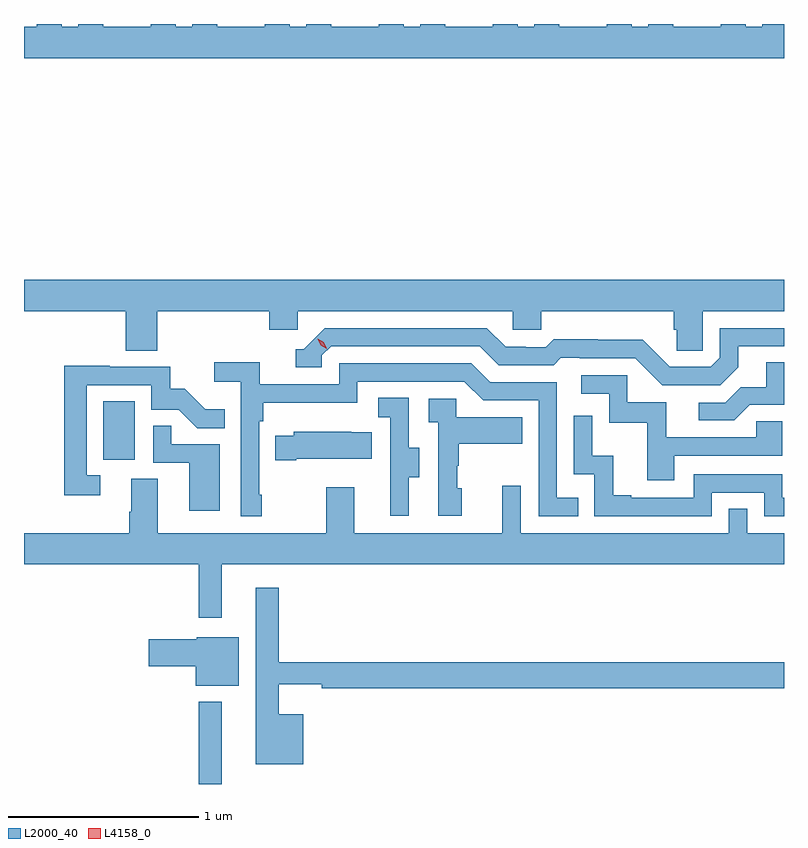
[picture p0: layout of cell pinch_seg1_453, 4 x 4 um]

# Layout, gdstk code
import gdstk
lib = gdstk.Library(unit=1e-6, precision=1e-09)
def R(c, l, rs):  # rectangles x0, y0, x1, y1
    for r in rs: c.add(gdstk.rectangle(r[:2], r[2:], *l))
def P(c, l, *ps):  # polygons
    for p in ps: c.add(gdstk.Polygon(p, *l))
L2000_40 = (2000, 40)
L4158_0 = (4158, 0)

pinch_seg1_453 = lib.new_cell('pinch_seg1_453')
R(pinch_seg1_453, L2000_40, [(995.214,506.619,995.335,507.052), (994.712,508.326,994.876,508.633)])
P(pinch_seg1_453, L2000_40, [(995.18,510.604),(995.092,510.604),(995.092,510.619),(994.961,510.619),(994.961,510.604),(994.711,510.604),(994.711,510.619),(994.58,510.619),(994.58,510.604),(994.492,510.604),(994.492,510.619),(994.361,510.619),(994.361,510.604),(994.294,510.604),(994.294,510.44),(998.294,510.44),(998.294,510.619),(998.18,510.619),(998.18,510.604),(998.092,510.604),(998.092,510.619),(997.961,510.619),(997.961,510.604),(997.711,510.604),(997.711,510.619),(997.58,510.619),(997.58,510.604),(997.492,510.604),(997.492,510.619),(997.361,510.619),(997.361,510.604),(997.111,510.604),(997.111,510.619),(996.98,510.619),(996.98,510.604),(996.892,510.604),(996.892,510.619),(996.761,510.619),(996.761,510.604),(996.511,510.604),(996.511,510.619),(996.38,510.619),(996.38,510.604),(996.292,510.604),(996.292,510.619),(996.161,510.619),(996.161,510.604),(995.911,510.604),(995.911,510.619),(995.78,510.619),(995.78,510.604),(995.692,510.604),(995.692,510.619),(995.561,510.619),(995.561,510.604),(995.311,510.604),(995.311,510.619),(995.18,510.619)],
  [(994.994,509.108),(995.585,509.108),(995.585,509.01),(995.736,509.01),(995.736,509.108),(996.867,509.108),(996.867,509.01),(997.017,509.01),(997.017,509.108),(997.715,509.108),(997.715,509.01),(997.729,509.01),(997.729,508.9),(997.866,508.9),(997.866,509.108),(998.294,509.108),(998.294,509.272),(994.294,509.272),(994.294,509.108),(994.829,509.108),(994.829,508.9),(994.994,508.9)],
  [(998.053,508.813),(998.053,508.923),(998.294,508.923),(998.294,509.019),(997.956,509.019),(997.956,508.863),(997.908,508.815),(997.692,508.815),(997.55,508.957),(997.314,508.957),(997.314,508.96),(997.081,508.96),(997.039,508.917),(996.936,508.917),(996.936,508.92),(996.829,508.92),(996.73,509.019),(995.877,509.019),(995.766,508.908),(995.723,508.908),(995.723,508.812),(995.862,508.812),(995.862,508.875),(995.91,508.923),(996.693,508.923),(996.792,508.824),(997.081,508.824),(997.12,508.863),(997.219,508.863),(997.219,508.86),(997.512,508.86),(997.653,508.719),(997.959,508.719)],
  [(995.545,508.141),(995.532,508.141),(995.532,508.529),(995.552,508.529),(995.552,508.625),(996.048,508.625),(996.048,508.737),(996.612,508.737),(996.711,508.638),(997.002,508.638),(997.002,508.029),(997.211,508.029),(997.211,508.125),(997.098,508.125),(997.098,508.734),(996.748,508.734),(996.649,508.833),(995.952,508.833),(995.952,508.722),(995.534,508.722),(995.534,508.838),(995.295,508.838),(995.295,508.736),(995.436,508.736),(995.436,508.029),(995.545,508.029)],
  [(998.113,508.614),(998.294,508.614),(998.294,508.838),(998.201,508.838),(998.201,508.706),(998.066,508.706),(997.986,508.626),(997.845,508.626),(997.845,508.533),(998.032,508.533)],
  [(994.696,508.245),(994.623,508.245),(994.623,508.719),(994.965,508.719),(994.965,508.59),(995.109,508.59),(995.207,508.492),(995.351,508.492),(995.351,508.591),(995.247,508.591),(995.14,508.698),(995.064,508.698),(995.064,508.815),(994.745,508.815),(994.745,508.82),(994.507,508.82),(994.507,508.14),(994.696,508.14)],
  [(997.717,508.347),(998.286,508.347),(998.286,508.527),(998.149,508.527),(998.149,508.443),(997.675,508.443),(997.675,508.629),(997.47,508.629),(997.47,508.77),(997.227,508.77),(997.227,508.674),(997.374,508.674),(997.374,508.521),(997.573,508.521),(997.573,508.218),(997.717,508.218)],
  [(996.319,508.234),(996.373,508.234),(996.373,508.389),(996.318,508.389),(996.318,508.652),(996.159,508.652),(996.159,508.549),(996.222,508.549),(996.222,508.245),(996.221,508.245),(996.221,508.032),(996.319,508.032)],
  [(996.598,508.176),(996.573,508.176),(996.573,508.295),(996.583,508.295),(996.583,508.409),(996.917,508.409),(996.917,508.549),(996.57,508.549),(996.57,508.647),(996.423,508.647),(996.423,508.523),(996.474,508.523),(996.474,508.032),(996.598,508.032)],
  [(997.914,508.152),(998.19,508.152),(998.19,508.029),(998.294,508.029),(998.294,508.125),(998.286,508.125),(998.286,508.248),(997.818,508.248),(997.818,508.125),(997.489,508.125),(997.489,508.138),(997.394,508.138),(997.394,508.346),(997.284,508.346),(997.284,508.558),(997.188,508.558),(997.188,508.248),(997.296,508.248),(997.296,508.029),(997.914,508.029)],
  [(995.323,508.407),(995.069,508.407),(995.069,508.505),(994.974,508.505),(994.974,508.311),(995.165,508.311),(995.165,508.056),(995.323,508.056)],
  [(995.728,508.331),(996.125,508.331),(996.125,508.471),(996.017,508.471),(996.017,508.474),(995.715,508.474),(995.715,508.453),(995.617,508.453),(995.617,508.324),(995.728,508.324)],
  [(995.335,507.776),(998.294,507.776),(998.294,507.94),(998.1,507.94),(998.1,508.067),(998.004,508.067),(998.004,507.94),(996.909,507.94),(996.909,508.189),(996.812,508.189),(996.812,507.94),(996.031,507.94),(996.031,508.18),(995.884,508.18),(995.884,507.94),(994.999,507.94),(994.999,508.226),(994.859,508.226),(994.859,508.052),(994.847,508.052),(994.847,507.94),(994.294,507.94),(994.294,507.776),(995.214,507.776),(995.214,507.495),(995.335,507.495)],
  [(995.764,506.986),(995.635,506.986),(995.635,507.143),(995.86,507.143),(995.86,507.124),(998.294,507.124),(998.294,507.26),(995.635,507.26),(995.635,507.652),(995.513,507.652),(995.513,506.723),(995.764,506.723)],
  [(995.425,507.391),(995.202,507.391),(995.202,507.381),(994.95,507.381),(994.95,507.239),(995.198,507.239),(995.198,507.137),(995.425,507.137)])
P(pinch_seg1_453, L4158_0, [(995.887,508.91),(995.856,508.929),(995.839,508.961),(995.839,508.962),(995.84,508.962),(995.871,508.943),(995.887,508.91),(995.887,508.91)])

lib.write_gds('pinch_seg1_453.gds')
